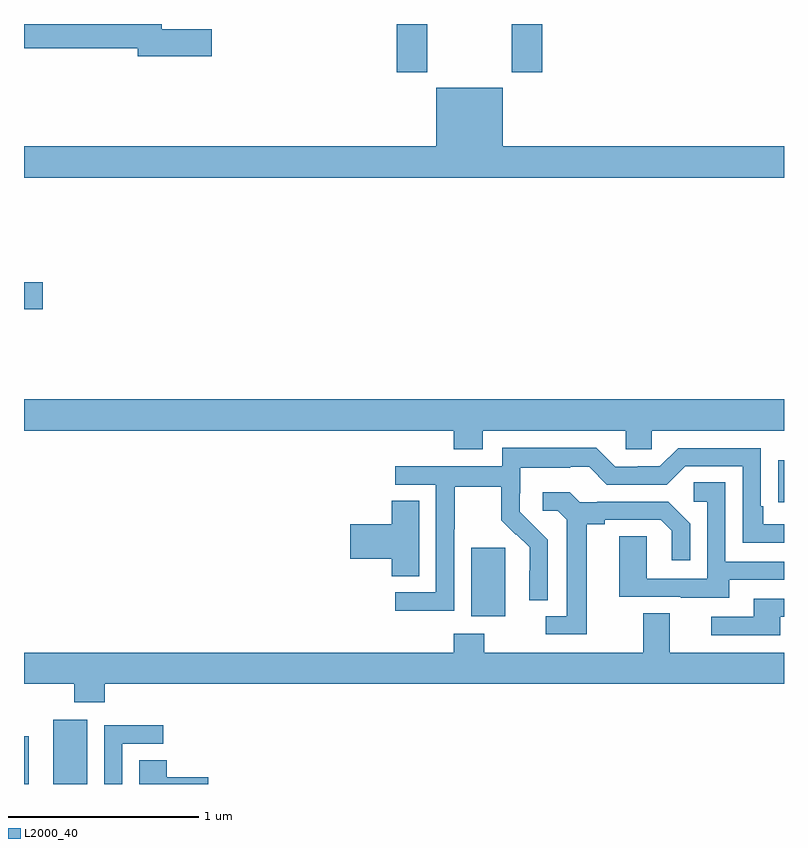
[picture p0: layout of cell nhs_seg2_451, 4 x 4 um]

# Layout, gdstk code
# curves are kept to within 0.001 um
import gdstk
lib = gdstk.Library(unit=1e-6, precision=1e-09)
def R(c, l, rs):  # rectangles x0, y0, x1, y1
    for r in rs: c.add(gdstk.rectangle(r[:2], r[2:], *l))
def P(c, l, *ps):  # polygons
    for p in ps: c.add(gdstk.Polygon(p, *l))
L2000_40 = (2000, 40)

nhs_seg2_451 = lib.new_cell('nhs_seg2_451')
R(nhs_seg2_451, L2000_40, [(133.154,621.8,133.333,622.138), (135.353,622.682,135.532,623.043), (136.969,623.284,137,623.503), (133,624.298,133.099,624.44), (134.963,625.545,135.123,625.8), (135.568,625.545,135.728,625.8)])
P(nhs_seg2_451, L2000_40, [(133.987,625.772),(133.726,625.772),(133.726,625.8),(133,625.8),(133,625.672),(133.598,625.672),(133.598,625.63),(133.987,625.63)],
  [(137,625.156),(135.52,625.156),(135.52,625.465),(135.17,625.465),(135.17,625.156),(133,625.156),(133,624.992),(137,624.992)],
  [(135.415,623.66),(136.167,623.66),(136.167,623.562),(136.305,623.562),(136.305,623.66),(137,623.66),(137,623.824),(133,623.824),(133,623.66),(135.263,623.66),(135.263,623.561),(135.415,623.561)],
  [(135.264,623.14),(135.267,623.14),(135.267,623.364),(135.511,623.364),(135.511,623.189),(135.588,623.112),(135.591,623.115),(135.662,623.045),(135.662,622.922),(135.66,622.922),(135.66,622.768),(135.756,622.768),(135.756,623.086),(135.61,623.234),(135.61,623.331),(135.612,623.331),(135.612,623.465),(135.875,623.465),(135.875,623.469),(135.975,623.469),(136.068,623.376),(136.383,623.376),(136.479,623.472),(136.782,623.472),(136.782,623.07),(137,623.07),(137,623.166),(136.891,623.166),(136.891,623.263),(136.878,623.263),(136.878,623.568),(136.443,623.568),(136.347,623.472),(136.229,623.472),(136.229,623.469),(136.113,623.469),(136.013,623.569),(135.516,623.569),(135.516,623.472),(134.955,623.472),(134.955,623.376),(135.168,623.376),(135.168,622.809),(134.955,622.809),(134.955,622.711),(135.264,622.711)],
  [(136.711,622.875),(137,622.875),(137,622.971),(136.692,622.971),(136.692,623.387),(136.524,623.387),(136.524,623.286),(136.596,623.286),(136.596,622.881),(136.278,622.881),(136.278,623.105),(136.133,623.105),(136.133,622.785),(136.457,622.785),(136.457,622.781),(136.711,622.781)],
  [(135.961,623.168),(136.057,623.168),(136.057,623.19),(136.352,623.19),(136.409,623.133),(136.409,622.977),(136.506,622.977),(136.506,623.17),(136.39,623.286),(136.018,623.286),(136.018,623.283),(135.924,623.283),(135.872,623.335),(135.729,623.335),(135.729,623.238),(135.81,623.238),(135.857,623.191),(135.857,622.683),(135.747,622.683),(135.747,622.587),(135.961,622.587)],
  [(135.079,623.291),(134.936,623.291),(134.936,623.168),(134.718,623.168),(134.718,622.985),(134.936,622.985),(134.936,622.894),(135.079,622.894)],
  [(136.981,622.68),(137,622.68),(137,622.776),(136.841,622.776),(136.841,622.68),(136.617,622.68),(136.617,622.584),(136.981,622.584)],
  [(133.424,622.328),(137,622.328),(137,622.492),(136.399,622.492),(136.399,622.7),(136.259,622.7),(136.259,622.492),(135.423,622.492),(135.423,622.591),(135.263,622.591),(135.263,622.492),(133,622.492),(133,622.328),(133.264,622.328),(133.264,622.229),(133.424,622.229)],
  [(133.518,622.011),(133.732,622.011),(133.732,622.11),(133.422,622.11),(133.422,621.8),(133.518,621.8)],
  [(133.025,621.898),(133.026,621.898),(133.026,622.052),(133,622.052),(133,621.8),(133.025,621.8)],
  [(133.969,621.836),(133.751,621.836),(133.751,621.926),(133.607,621.926),(133.607,621.8),(133.969,621.8)])

lib.write_gds('nhs_seg2_451.gds')
